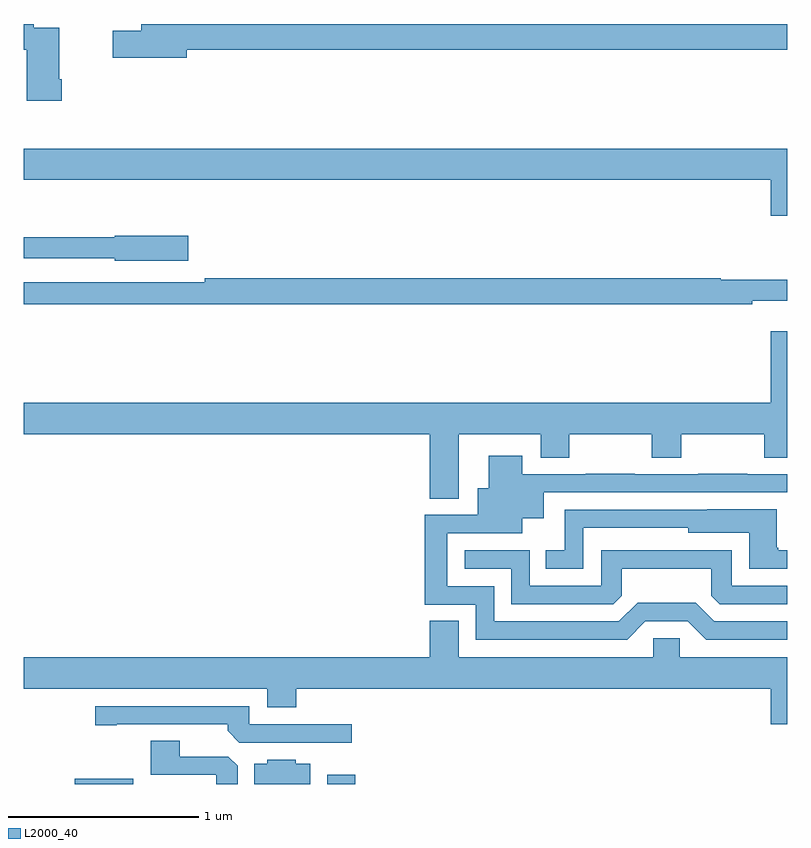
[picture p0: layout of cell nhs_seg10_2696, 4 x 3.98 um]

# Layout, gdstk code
import gdstk
lib = gdstk.Library(unit=1e-6, precision=1e-09)
def R(c, l, rs):  # rectangles x0, y0, x1, y1
    for r in rs: c.add(gdstk.rectangle(r[:2], r[2:], *l))
def P(c, l, *ps):  # polygons
    for p in ps: c.add(gdstk.Polygon(p, *l))
L2000_40 = (2000, 40)

nhs_seg10_2696 = lib.new_cell('nhs_seg10_2696')
R(nhs_seg10_2696, L2000_40, [(257.267,1282.5,257.575,1282.528), (258.59,1282.5,258.737,1282.549)])
P(nhs_seg10_2696, L2000_40, [(257.201,1286.191),(257.188,1286.191),(257.188,1286.46),(257.054,1286.46),(257.054,1286.48),(257,1286.48),(257,1286.344),(257.017,1286.344),(257.017,1286.079),(257.201,1286.079)],
  [(257.854,1286.344),(261,1286.344),(261,1286.48),(257.615,1286.48),(257.615,1286.444),(257.466,1286.444),(257.466,1286.302),(257.854,1286.302)],
  [(261,1285.828),(257,1285.828),(257,1285.664),(260.912,1285.664),(260.912,1285.476),(261,1285.476)],
  [(257.863,1285.371),(257.478,1285.371),(257.478,1285.363),(257,1285.363),(257,1285.254),(257.478,1285.254),(257.478,1285.241),(257.863,1285.241)],
  [(260.816,1285.031),(261,1285.031),(261,1285.141),(260.65,1285.141),(260.65,1285.148),(257.95,1285.148),(257.95,1285.128),(257,1285.128),(257,1285.012),(260.816,1285.012)],
  [(259.279,1284.332),(259.709,1284.332),(259.709,1284.208),(259.857,1284.208),(259.857,1284.332),(260.29,1284.332),(260.29,1284.208),(260.445,1284.208),(260.445,1284.332),(260.878,1284.332),(260.878,1284.208),(261,1284.208),(261,1284.871),(260.912,1284.871),(260.912,1284.496),(257,1284.496),(257,1284.332),(259.127,1284.332),(259.127,1283.995),(259.279,1283.995)],
  [(260.256,1283.352),(260.478,1283.352),(260.574,1283.256),(261,1283.256),(261,1283.352),(260.616,1283.352),(260.519,1283.45),(260.216,1283.45),(260.118,1283.352),(259.464,1283.352),(259.464,1283.535),(259.218,1283.535),(259.218,1283.814),(259.612,1283.814),(259.612,1283.891),(259.723,1283.891),(259.723,1284.027),(261,1284.027),(261,1284.123),(260.789,1284.123),(260.789,1284.125),(260.533,1284.125),(260.533,1284.123),(260.201,1284.123),(260.201,1284.125),(259.945,1284.125),(259.945,1284.123),(259.612,1284.123),(259.612,1284.22),(259.436,1284.22),(259.436,1284.049),(259.379,1284.049),(259.379,1283.91),(259.102,1283.91),(259.102,1283.439),(259.368,1283.439),(259.368,1283.256),(260.16,1283.256)],
  [(259.932,1283.841),(260.481,1283.841),(260.481,1283.816),(260.801,1283.816),(260.801,1283.628),(261,1283.628),(261,1283.725),(260.952,1283.725),(260.952,1283.737),(260.944,1283.737),(260.944,1283.938),(260.581,1283.938),(260.581,1283.937),(259.835,1283.937),(259.835,1283.725),(259.735,1283.725),(259.735,1283.628),(259.932,1283.628)],
  [(260.133,1283.487),(260.133,1283.627),(260.601,1283.627),(260.601,1283.487),(260.646,1283.442),(261,1283.442),(261,1283.538),(260.709,1283.538),(260.709,1283.724),(260.025,1283.724),(260.025,1283.538),(259.65,1283.538),(259.65,1283.724),(259.311,1283.724),(259.311,1283.628),(259.554,1283.628),(259.554,1283.442),(260.088,1283.442)],
  [(261,1283.164),(260.436,1283.164),(260.436,1283.262),(260.298,1283.262),(260.298,1283.164),(259.279,1283.164),(259.279,1283.354),(259.127,1283.354),(259.127,1283.164),(257,1283.164),(257,1283),(258.275,1283),(258.275,1282.901),(258.428,1282.901),(258.428,1283),(260.912,1283),(260.912,1282.812),(261,1282.812)],
  [(258.718,1282.812),(258.183,1282.812),(258.183,1282.908),(257.376,1282.908),(257.376,1282.807),(257.488,1282.807),(257.488,1282.812),(258.068,1282.812),(258.068,1282.778),(258.129,1282.716),(258.718,1282.716)],
  [(258.121,1282.595),(258.072,1282.644),(257.818,1282.644),(257.818,1282.727),(257.666,1282.727),(257.666,1282.548),(258.009,1282.548),(258.009,1282.5),(258.121,1282.5)],
  [(258.502,1282.606),(258.426,1282.606),(258.426,1282.627),(258.276,1282.627),(258.276,1282.606),(258.209,1282.606),(258.209,1282.5),(258.502,1282.5)])

lib.write_gds('nhs_seg10_2696.gds')
